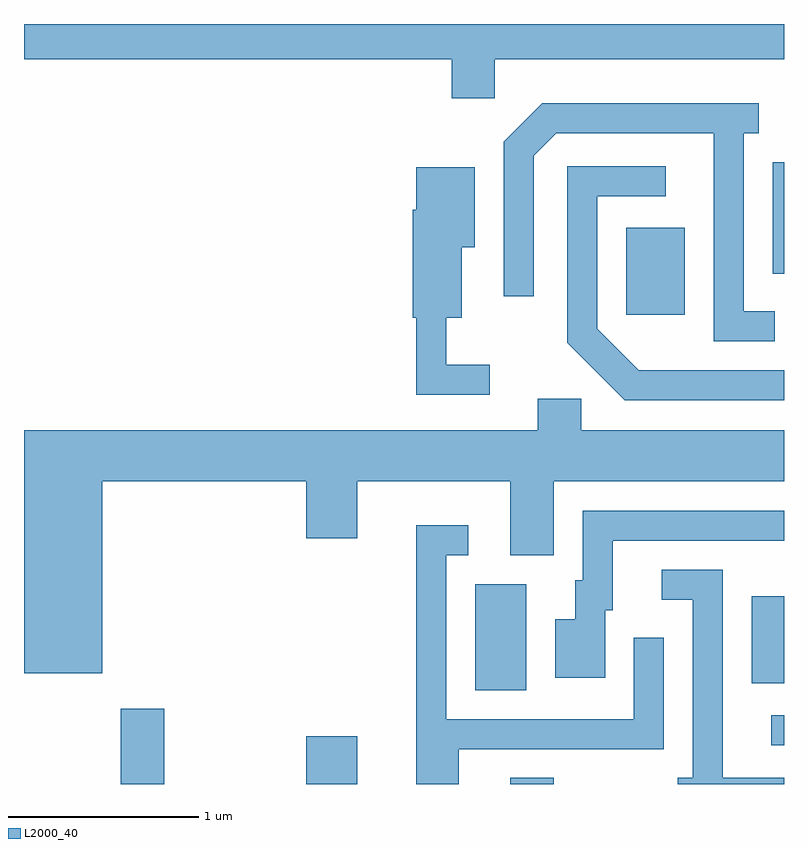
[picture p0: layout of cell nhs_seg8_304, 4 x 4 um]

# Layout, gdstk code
import gdstk
lib = gdstk.Library(unit=1e-6, precision=1e-09)
def R(c, l, rs):  # rectangles x0, y0, x1, y1
    for r in rs: c.add(gdstk.rectangle(r[:2], r[2:], *l))
def P(c, l, *ps):  # polygons
    for p in ps: c.add(gdstk.Polygon(p, *l))
L2000_40 = (2000, 40)

nhs_seg8_304 = lib.new_cell('nhs_seg8_304')
R(nhs_seg8_304, L2000_40, [(194.121,1870.342,194.349,1870.739), (195.096,1870.342,195.364,1870.594), (196.171,1870.342,196.399,1870.374), (197.543,1870.546,197.611,1870.704), (195.986,1870.836,196.254,1871.394), (197.441,1870.871,197.611,1871.329), (196.781,1872.811,197.089,1873.269), (197.551,1873.028,197.611,1873.614)])
P(nhs_seg8_304, L2000_40, [(196.089,1874.156),(197.611,1874.156),(197.611,1874.342),(193.611,1874.342),(193.611,1874.156),(195.861,1874.156),(195.861,1873.951),(196.089,1873.951)],
  [(197.563,1872.829),(197.399,1872.829),(197.399,1873.766),(197.478,1873.766),(197.478,1873.924),(196.339,1873.924),(196.136,1873.722),(196.136,1872.908),(196.294,1872.908),(196.294,1873.649),(196.412,1873.766),(197.241,1873.766),(197.241,1872.671),(197.563,1872.671)],
  [(197.611,1872.519),(196.847,1872.519),(196.629,1872.737),(196.629,1873.436),(196.988,1873.436),(196.988,1873.594),(196.471,1873.594),(196.471,1872.664),(196.774,1872.361),(197.611,1872.361)],
  [(196.063,1872.549),(195.834,1872.549),(195.834,1872.796),(195.914,1872.796),(195.914,1873.166),(195.984,1873.166),(195.984,1873.589),(195.676,1873.589),(195.676,1873.364),(195.656,1873.364),(195.656,1872.796),(195.676,1872.796),(195.676,1872.391),(196.063,1872.391)],
  [(194.024,1871.936),(195.096,1871.936),(195.096,1871.636),(195.364,1871.636),(195.364,1871.936),(196.171,1871.936),(196.171,1871.546),(196.399,1871.546),(196.399,1871.936),(197.611,1871.936),(197.611,1872.204),(196.544,1872.204),(196.544,1872.369),(196.316,1872.369),(196.316,1872.204),(193.611,1872.204),(193.611,1870.926),(194.024,1870.926)],
  [(196.669,1871.256),(196.709,1871.256),(196.709,1871.621),(197.611,1871.621),(197.611,1871.779),(196.551,1871.779),(196.551,1871.414),(196.511,1871.414),(196.511,1871.209),(196.406,1871.209),(196.406,1870.901),(196.669,1870.901)],
  [(195.899,1870.526),(196.979,1870.526),(196.979,1871.113),(196.821,1871.113),(196.821,1870.684),(195.834,1870.684),(195.834,1871.546),(195.948,1871.546),(195.948,1871.704),(195.676,1871.704),(195.676,1870.342),(195.899,1870.342)],
  [(197.611,1870.374),(197.289,1870.374),(197.289,1871.469),(196.968,1871.469),(196.968,1871.311),(197.131,1871.311),(197.131,1870.374),(197.053,1870.374),(197.053,1870.342),(197.611,1870.342)])

lib.write_gds('nhs_seg8_304.gds')
